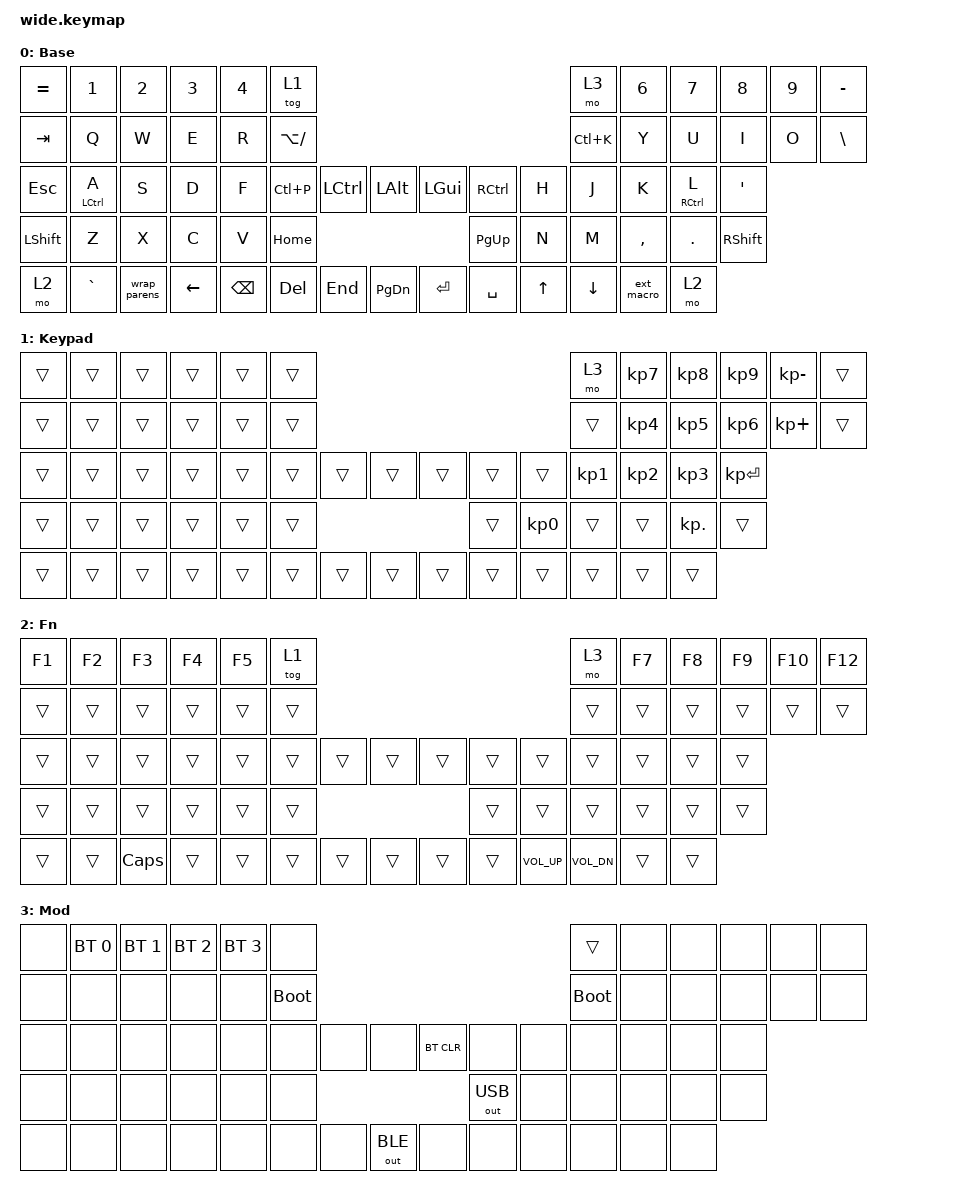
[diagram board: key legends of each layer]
// Sample: a large keyboard with irregular rows, an older `label`
// property style, behaviors pulled in from other files and overrides of
// built-in behaviors.

#include <behaviors.dtsi>
#include <dt-bindings/zmk/bt.h>
#include <dt-bindings/zmk/keys.h>
#include <dt-bindings/zmk/outputs.h>

&mt {
    tapping-term-ms = <220>;
    flavor = "tap-preferred";
};

/ {
    behaviors {
        #include "extra_macros.dtsi"

        hm: homerow_mods {
            compatible = "zmk,behavior-hold-tap";
            label = "HOMEROW_MODS";
            #binding-cells = <2>;
            tapping-term-ms = <200>;
            quick_tap_ms = <175>;
            flavor = "tap-preferred";
            bindings = <&kp>, <&kp>;
        };

        wrap_parens: wrap_parens {
            compatible = "zmk,behavior-macro";
            label = "wrap_parens";
            #binding-cells = <0>;
            bindings = <&kp LPAR>, <&kp RPAR>, <&kp LEFT>;
        };
    };

    keymap {
        compatible = "zmk,keymap";

        default_layer {
            display-name = "Base";
            bindings = <
&kp EQUAL  &kp N1  &kp N2  &kp N3  &kp N4  &tog 1                                    &mo 3      &kp N6  &kp N7  &kp N8     &kp N9    &kp MINUS
&kp TAB    &kp Q   &kp W   &kp E   &kp R   &kp LA(SLASH)                             &kp LC(K)  &kp Y   &kp U   &kp I      &kp O     &kp BSLH
&kp ESC    &hm LCTRL A  &kp S  &kp D  &kp F  &kp LC(P)  &kp LCTRL  &kp LALT  &kp LGUI  &kp RCTRL  &kp H  &kp J  &kp K  &hm RCTRL L  &kp SQT
&kp LSHFT  &kp Z   &kp X   &kp C   &kp V             &kp HOME  &kp PG_UP             &kp N   &kp M   &kp COMMA  &kp DOT   &kp RSHFT
&mo 2      &kp GRAVE  &wrap_parens  &kp LEFT  &kp BSPC  &kp DEL  &kp END  &kp PG_DN  &kp RET  &kp SPACE  &kp UP  &kp DOWN  &ext_macro  &mo 2
            >;
        };

        keypad {
            display-name = "Keypad";
            bindings = <
&trans  &trans  &trans  &trans  &trans  &trans                                       &mo 3   &kp KP_N7  &kp KP_N8  &kp KP_N9  &kp KP_MINUS  &trans
&trans  &trans  &trans  &trans  &trans  &trans                                       &trans  &kp KP_N4  &kp KP_N5  &kp KP_N6  &kp KP_PLUS   &trans
&trans  &trans  &trans  &trans  &trans  &trans  &trans  &trans  &trans  &trans       &trans  &kp KP_N1  &kp KP_N2  &kp KP_N3  &kp KP_ENTER
&trans  &trans  &trans  &trans  &trans          &trans  &trans                       &kp KP_N0  &trans  &trans  &kp KP_DOT  &trans
&trans  &trans  &trans  &trans  &trans  &trans  &trans  &trans  &trans  &trans  &trans  &trans  &trans  &trans
            >;
        };

        fn {
            display-name = "Fn";
            bindings = <
&kp F1  &kp F2  &kp F3  &kp F4  &kp F5  &tog 1                                       &mo 3   &kp F7  &kp F8  &kp F9  &kp F10  &kp F12
&trans  &trans  &trans  &trans  &trans  &trans                                       &trans  &trans  &trans  &trans  &trans   &trans
&trans  &trans  &trans  &trans  &trans  &trans  &trans  &trans  &trans  &trans       &trans  &trans  &trans  &trans  &trans
&trans  &trans  &trans  &trans  &trans          &trans  &trans                       &trans  &trans  &trans  &trans  &trans
&trans  &trans  &kp CAPS  &trans  &trans  &trans  &trans  &trans  &trans  &trans  &kp C_VOL_UP  &kp C_VOL_DN  &trans  &trans
            >;
        };

        mod {
            display-name = "Mod";
            bindings = <
&none  &bt BT_SEL 0  &bt BT_SEL 1  &bt BT_SEL 2  &bt BT_SEL 3  &none                  &trans  &none  &none  &none  &none  &none
&none  &none  &none  &none  &none  &bootloader                                       &bootloader  &none  &none  &none  &none  &none
&none  &none  &none  &none  &none  &none  &none  &none  &bt BT_CLR  &none            &none  &none  &none  &none  &none
&none  &none  &none  &none  &none          &none  &out OUT_USB                       &none  &none  &none  &none  &none
&none  &none  &none  &none  &none  &none  &none  &out OUT_BLE  &none  &none  &none  &none  &none  &none
            >;
        };
    };
};
